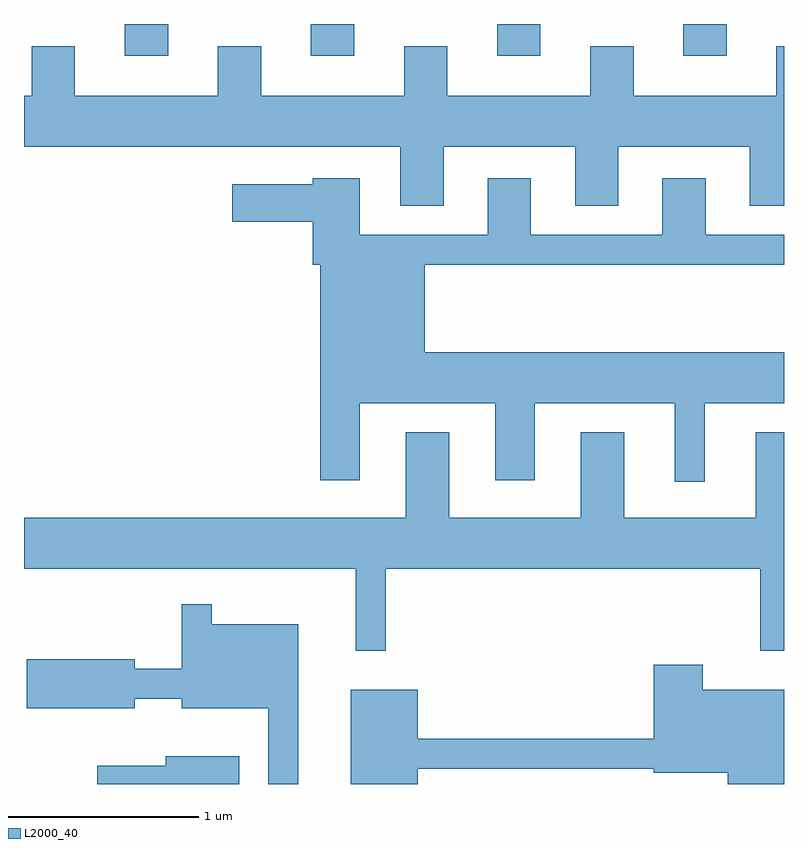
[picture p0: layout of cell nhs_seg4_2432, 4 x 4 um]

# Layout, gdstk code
import gdstk
lib = gdstk.Library(unit=1e-6, precision=1e-09)
def R(c, l, rs):  # rectangles x0, y0, x1, y1
    for r in rs: c.add(gdstk.rectangle(r[:2], r[2:], *l))
def A(c, l, x, y, w, h, nx, ny, dx, dy):  # array of equal rectangles
    R(c, l, [(x+i*dx, y+j*dy, x+i*dx+w, y+j*dy+h) for i in range(nx) for j in range(ny)])
def P(c, l, *ps):  # polygons
    for p in ps: c.add(gdstk.Polygon(p, *l))
L2000_40 = (2000, 40)

nhs_seg4_2432 = lib.new_cell('nhs_seg4_2432')
A(nhs_seg4_2432, L2000_40, 256.141, 1361.816, 0.228, 0.166, 4, 1, 0.98, 0)
P(nhs_seg4_2432, L2000_40, [(257.819,1361.336),(258.511,1361.336),(258.511,1361.026),(258.739,1361.026),(258.739,1361.336),(259.431,1361.336),(259.431,1361.026),(259.611,1361.026),(259.611,1361.864),(259.571,1361.864),(259.571,1361.604),(258.819,1361.604),(258.819,1361.864),(258.591,1361.864),(258.591,1361.604),(257.839,1361.604),(257.839,1361.864),(257.611,1361.864),(257.611,1361.604),(256.859,1361.604),(256.859,1361.864),(256.631,1361.864),(256.631,1361.604),(255.879,1361.604),(255.879,1361.864),(255.651,1361.864),(255.651,1361.604),(255.611,1361.604),(255.611,1361.336),(257.591,1361.336),(257.591,1361.026),(257.819,1361.026)],
  [(259.194,1359.986),(259.611,1359.986),(259.611,1360.254),(257.719,1360.254),(257.719,1360.716),(259.611,1360.716),(259.611,1360.874),(259.199,1360.874),(259.199,1361.169),(258.971,1361.169),(258.971,1360.874),(258.279,1360.874),(258.279,1361.169),(258.051,1361.169),(258.051,1360.874),(257.379,1360.874),(257.379,1361.169),(257.131,1361.169),(257.131,1361.139),(256.706,1361.139),(256.706,1360.941),(257.131,1360.941),(257.131,1360.716),(257.171,1360.716),(257.171,1359.581),(257.379,1359.581),(257.379,1359.986),(258.091,1359.986),(258.091,1359.581),(258.299,1359.581),(258.299,1359.986),(259.036,1359.986),(259.036,1359.573),(259.194,1359.573)],
  [(257.514,1359.116),(259.486,1359.116),(259.486,1358.683),(259.611,1358.683),(259.611,1359.834),(259.461,1359.834),(259.461,1359.384),(258.769,1359.384),(258.769,1359.834),(258.541,1359.834),(258.541,1359.384),(257.849,1359.384),(257.849,1359.834),(257.621,1359.834),(257.621,1359.384),(255.611,1359.384),(255.611,1359.116),(257.356,1359.116),(257.356,1358.683),(257.514,1358.683)],
  [(257.054,1358.824),(256.599,1358.824),(256.599,1358.928),(256.441,1358.928),(256.441,1358.589),(256.194,1358.589),(256.194,1358.639),(255.626,1358.639),(255.626,1358.381),(256.194,1358.381),(256.194,1358.431),(256.441,1358.431),(256.441,1358.381),(256.896,1358.381),(256.896,1357.982),(257.054,1357.982)],
  [(257.684,1358.061),(258.926,1358.061),(258.926,1358.041),(259.316,1358.041),(259.316,1357.982),(259.611,1357.982),(259.611,1358.479),(259.184,1358.479),(259.184,1358.609),(258.926,1358.609),(258.926,1358.219),(257.684,1358.219),(257.684,1358.479),(257.331,1358.479),(257.331,1357.982),(257.684,1357.982)],
  [(256.744,1358.129),(256.356,1358.129),(256.356,1358.079),(255.996,1358.079),(255.996,1357.982),(256.744,1357.982)])

lib.write_gds('nhs_seg4_2432.gds')
